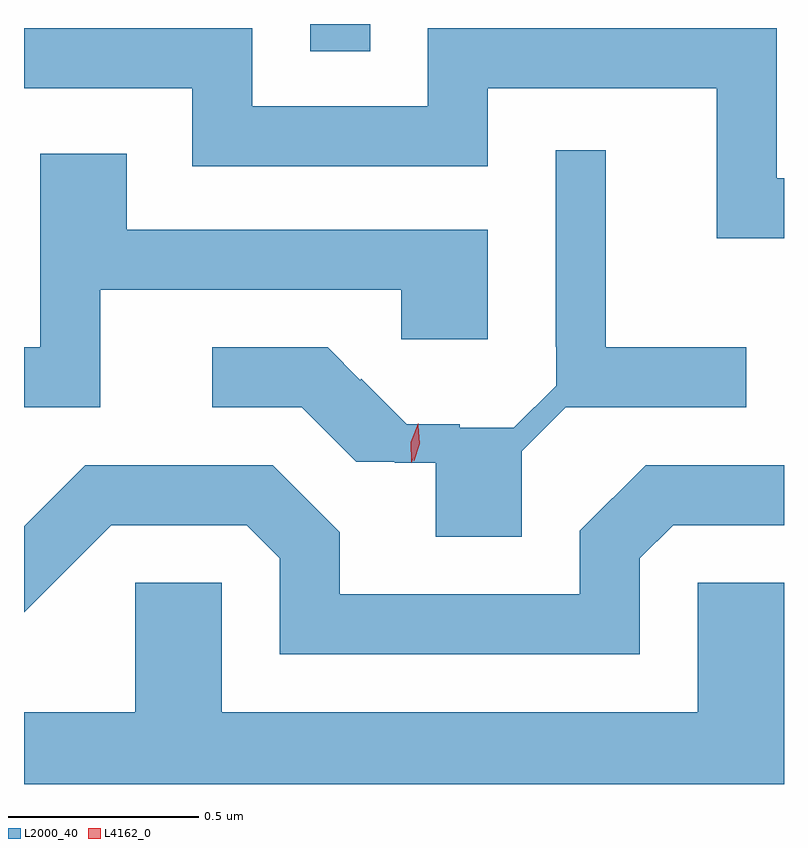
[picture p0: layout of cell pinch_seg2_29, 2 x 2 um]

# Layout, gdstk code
import gdstk
lib = gdstk.Library(unit=1e-6, precision=1e-09)
def R(c, l, rs):  # rectangles x0, y0, x1, y1
    for r in rs: c.add(gdstk.rectangle(r[:2], r[2:], *l))
def P(c, l, *ps):  # polygons
    for p in ps: c.add(gdstk.Polygon(p, *l))
L2000_40 = (2000, 40)
L4162_0 = (4162, 0)

pinch_seg2_29 = lib.new_cell('pinch_seg2_29')
R(pinch_seg2_29, L2000_40, [(1667.411,1028.123,1667.569,1028.195)])
P(pinch_seg2_29, L2000_40, [(1668.658,1027.789),(1668.639,1027.789),(1668.639,1028.184),(1667.721,1028.184),(1667.721,1027.979),(1667.259,1027.979),(1667.259,1028.184),(1666.658,1028.184),(1666.658,1028.026),(1667.101,1028.026),(1667.101,1027.821),(1667.879,1027.821),(1667.879,1028.026),(1668.481,1028.026),(1668.481,1027.631),(1668.658,1027.631)],
  [(1667.968,1027.071),(1668.084,1027.187),(1668.187,1027.187),(1668.187,1027.186),(1668.558,1027.186),(1668.558,1027.344),(1668.189,1027.344),(1668.189,1027.863),(1668.057,1027.863),(1668.057,1027.346),(1668.058,1027.346),(1668.058,1027.243),(1667.947,1027.132),(1667.805,1027.132),(1667.805,1027.142),(1667.665,1027.142),(1667.546,1027.261),(1667.543,1027.258),(1667.457,1027.344),(1667.153,1027.344),(1667.153,1027.186),(1667.389,1027.186),(1667.532,1027.043),(1667.633,1027.043),(1667.633,1027.04),(1667.741,1027.04),(1667.741,1026.846),(1667.968,1026.846)],
  [(1666.859,1027.496),(1667.651,1027.496),(1667.651,1027.366),(1667.879,1027.366),(1667.879,1027.654),(1666.929,1027.654),(1666.929,1027.854),(1666.701,1027.854),(1666.701,1027.344),(1666.658,1027.344),(1666.658,1027.186),(1666.859,1027.186)],
  [(1668.279,1026.789),(1668.367,1026.876),(1668.658,1026.876),(1668.658,1027.034),(1668.294,1027.034),(1668.121,1026.862),(1668.121,1026.694),(1667.489,1026.694),(1667.489,1026.857),(1667.312,1027.034),(1666.819,1027.034),(1666.658,1026.873),(1666.658,1026.647),(1666.887,1026.876),(1667.244,1026.876),(1667.331,1026.789),(1667.331,1026.536),(1668.279,1026.536)],
  [(1668.658,1026.724),(1668.431,1026.724),(1668.431,1026.384),(1667.179,1026.384),(1667.179,1026.724),(1666.951,1026.724),(1666.951,1026.384),(1666.658,1026.384),(1666.658,1026.195),(1668.658,1026.195)])
P(pinch_seg2_29, L4162_0, [(1667.677,1027.042),(1667.677,1027.042),(1667.676,1027.095),(1667.695,1027.144),(1667.695,1027.144),(1667.696,1027.144),(1667.696,1027.091),(1667.678,1027.042)],
  [(1667.684,1027.046),(1667.68,1027.094),(1667.695,1027.139),(1667.696,1027.139),(1667.696,1027.139),(1667.7,1027.091),(1667.685,1027.046),(1667.685,1027.046)])

lib.write_gds('pinch_seg2_29.gds')
